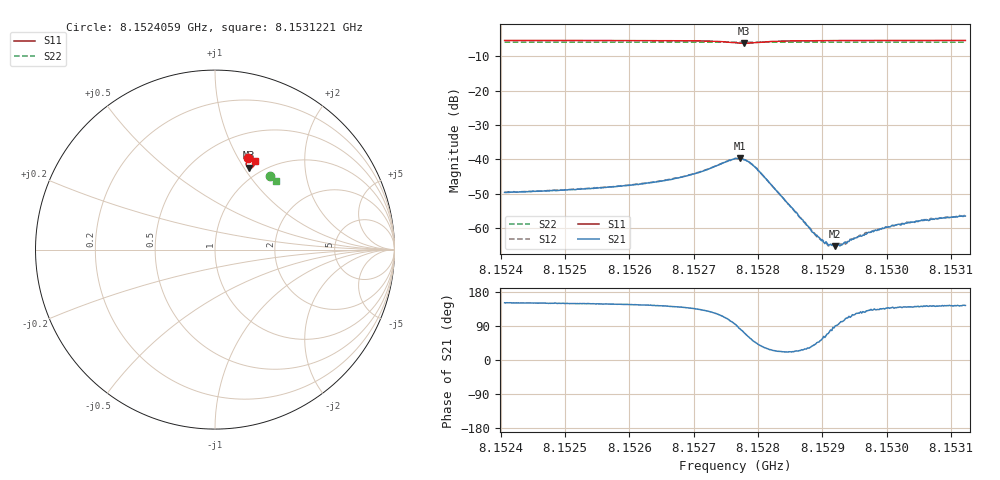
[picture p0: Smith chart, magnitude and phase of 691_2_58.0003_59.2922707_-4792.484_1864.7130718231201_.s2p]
#  HZ  S  RI  R  50.00
! Rohde & Schwarz Vector Network Analyzer
! Rohde-Schwarz,ZNB20-2Port,1311601062101988,3.16
! Created: UTC 3/21/2024, 1:21:16 AM
! freq[Hz]  re:S11  im:S11  re:S21  im:S21  re:S12  im:S12  re:S22  im:S22
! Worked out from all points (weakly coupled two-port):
!   401 points, 8.1524059 GHz to 8.1531221 GHz, reference 50 ohm
!   highest |S21| = -39.74 dB at 8.1527712 GHz (marker M1); lowest = -65.4 dB at 8.1529198 GHz (marker M2)
!   lowest |S11| = -6.1 dB at 8.1527784 GHz (marker M3), VSWR 2.94, Z = 43.6 + j52.5 ohm
!   |S11| at or under -10 dB: nowhere
!   |S22| runs from -5.9 to -5.8 dB; largest |S21 - S12| = 0.00038
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8.15240593e9  0.1842 0.5082  -0.00286 0.00159  -0.00286 0.00167  0.3063 0.4094
8.15252589e9  0.1939 0.5044  -0.00316 0.00193  -0.00314 0.00198  0.3125 0.4045
8.15259393e9  0.2002 0.5015  -0.00345 0.00227  -0.00345 0.00234  0.3157 0.4017
8.15264585e9  0.206 0.4979  -0.00379 0.00283  -0.00383 0.00288  0.3184 0.3995
8.15270494e9  0.2145 0.489  -0.0044 0.0045  -0.00438 0.00464  0.3213 0.3967
8.15276403e9  0.2057 0.4566  -0.00082 0.0102  -0.000459 0.0102  0.3233 0.3935
8.15277119e9  0.197 0.4542  0.0013 0.0102  0.00139 0.0101  0.3233 0.3934
8.15277835e9  0.1871 0.4559  0.00311 0.00935  0.00328 0.0093  0.3233 0.3931
8.1527873e9  0.1777 0.4632  0.00481 0.00756  0.00496 0.00725  0.3235 0.3933
8.15279984e9  0.1736 0.4768  0.00514 0.00453  0.00527 0.00448  0.3241 0.3933
8.15288399e9  0.1969 0.4992  0.000691 0.00052  0.000695 0.000528  0.3293 0.3904
8.15289294e9  0.1985 0.4993  0.000506 0.000541  0.000495 0.000514  0.3296 0.3901
8.1529001e9  0.1996 0.4992  0.000367 0.000557  0.000371 0.000535  0.3301 0.3898
8.15290727e9  0.2009 0.4993  0.000216 0.000554  0.000225 0.000525  0.3305 0.3894
8.1529198e9  0.2026 0.4991  2.73e-06 0.000539  1.6e-05 0.000556  0.331 0.3887
8.15293233e9  0.2043 0.4988  -0.000129 0.000571  -0.000162 0.000578  0.3317 0.3883
8.15294487e9  0.2058 0.4985  -0.000286 0.0006  -0.000318 0.00061  0.3323 0.3877
8.15296993e9  0.2087 0.4978  -0.000542 0.000645  -0.000529 0.000661  0.3335 0.3866
8.15300395e9  0.2121 0.4968  -0.000745 0.000715  -0.000745 0.000713  0.3351 0.3851
8.1530326e9  0.2147 0.4961  -0.000916 0.000763  -0.000904 0.000765  0.3366 0.384
8.15306662e9  0.2175 0.4952  -0.00103 0.000781  -0.00105 0.000809  0.3381 0.3825
8.15312213e9  0.222 0.4934  -0.0012 0.000873  -0.00119 0.000893  0.3407 0.3801
